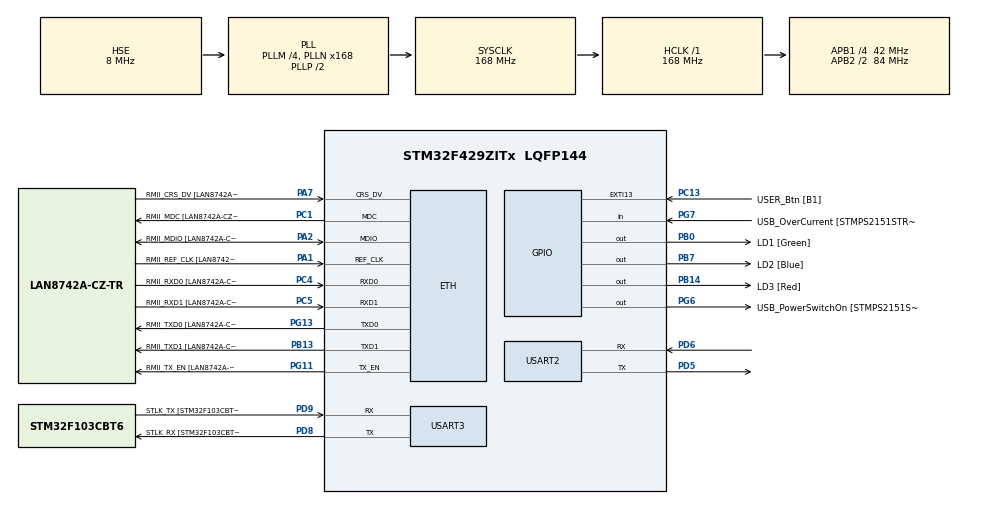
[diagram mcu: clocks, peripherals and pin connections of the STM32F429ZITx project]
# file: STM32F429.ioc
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Dma.Request0=USART2_RX
Dma.Request1=USART2_TX
Dma.Request2=USART3_RX
Dma.Request3=USART3_TX
Dma.USART2_RX.0.Direction=DMA_PERIPH_TO_MEMORY
Dma.USART2_RX.0.FIFOMode=DMA_FIFOMODE_DISABLE
Dma.USART2_RX.0.Instance=DMA1_Stream5
Dma.USART2_RX.0.MemDataAlignment=DMA_MDATAALIGN_BYTE
Dma.USART2_RX.0.MemInc=DMA_MINC_ENABLE
Dma.USART2_RX.0.Mode=DMA_NORMAL
Dma.USART2_RX.0.PeriphDataAlignment=DMA_PDATAALIGN_BYTE
Dma.USART2_RX.0.PeriphInc=DMA_PINC_DISABLE
Dma.USART2_RX.0.Priority=DMA_PRIORITY_LOW
Dma.USART2_TX.1.Direction=DMA_MEMORY_TO_PERIPH
Dma.USART2_TX.1.FIFOMode=DMA_FIFOMODE_DISABLE
Dma.USART2_TX.1.Instance=DMA1_Stream6
Dma.USART2_TX.1.MemDataAlignment=DMA_MDATAALIGN_BYTE
Dma.USART2_TX.1.MemInc=DMA_MINC_ENABLE
Dma.USART2_TX.1.Mode=DMA_NORMAL
Dma.USART2_TX.1.PeriphDataAlignment=DMA_PDATAALIGN_BYTE
Dma.USART2_TX.1.PeriphInc=DMA_PINC_DISABLE
Dma.USART2_TX.1.Priority=DMA_PRIORITY_LOW
Dma.USART3_RX.2.Direction=DMA_PERIPH_TO_MEMORY
Dma.USART3_RX.2.FIFOMode=DMA_FIFOMODE_DISABLE
Dma.USART3_RX.2.Instance=DMA1_Stream1
Dma.USART3_RX.2.MemDataAlignment=DMA_MDATAALIGN_BYTE
Dma.USART3_RX.2.MemInc=DMA_MINC_ENABLE
Dma.USART3_RX.2.Mode=DMA_NORMAL
Dma.USART3_RX.2.PeriphDataAlignment=DMA_PDATAALIGN_BYTE
Dma.USART3_RX.2.PeriphInc=DMA_PINC_DISABLE
Dma.USART3_RX.2.Priority=DMA_PRIORITY_LOW
Dma.USART3_TX.3.Direction=DMA_MEMORY_TO_PERIPH
Dma.USART3_TX.3.FIFOMode=DMA_FIFOMODE_DISABLE
Dma.USART3_TX.3.Instance=DMA1_Stream3
Dma.USART3_TX.3.MemDataAlignment=DMA_MDATAALIGN_BYTE
Dma.USART3_TX.3.MemInc=DMA_MINC_ENABLE
Dma.USART3_TX.3.Mode=DMA_NORMAL
Dma.USART3_TX.3.PeriphDataAlignment=DMA_PDATAALIGN_BYTE
Dma.USART3_TX.3.PeriphInc=DMA_PINC_DISABLE
Dma.USART3_TX.3.Priority=DMA_PRIORITY_LOW
ETH.MACAddr=00\:80\:E1\:00\:00\:01
ETH.MediaInterface=ETH_MEDIA_INTERFACE_RMII
ETH.PHY_Name=LAN8742A_PHY_ADDRESS
ETH.PHY_Value=0
ETH.PhyAddress=0
FREERTOS.Tasks01=defaultTask,24,128,StartDefaultTask,Default,NULL,Dynamic,NULL,NULL;myTaskModbusTCP,8,256,StartTaskTCPH,Default,NULL,Dynamic,NULL,NULL;myTaskMaster,8,256,StartTaskMaster,Default,NULL,Dynamic,NULL,NULL;TaskmyTaskSlave,8,256,StartTasSlave,Default,NULL,Dynamic,NULL,NULL;myTaskTCPS,8,256,StartTaskTCPS,Default,NULL,Dynamic,NULL,NULL
FREERTOS.configTOTAL_HEAP_SIZE=32536
FREERTOS.configUSE_NEWLIB_REENTRANT=0
LWIP.GATEWAY_ADDRESS=192.168.010.001
LWIP.IP_ADDRESS=192.168.010.180
LWIP.LWIP_DHCP=0
LWIP.LWIP_IPV6=0
LWIP.NETMASK_ADDRESS=255.255.255.000
LWIP.Version=v2.1.2_Cube
Mcu.Family=STM32F4
Mcu.Name=STM32F429ZITx
Mcu.Package=LQFP144
NVIC.DMA1_Stream1_IRQn=true\:5\:0\:false\:false\:true\:true\:false\:true
NVIC.DMA1_Stream3_IRQn=true\:5\:0\:false\:false\:true\:true\:false\:true
NVIC.DMA1_Stream5_IRQn=true\:5\:0\:false\:false\:true\:true\:false\:true
NVIC.DMA1_Stream6_IRQn=true\:5\:0\:false\:false\:true\:true\:false\:true
NVIC.ETH_IRQn=true\:5\:0\:false\:false\:true\:true\:false\:true
NVIC.PriorityGroup=NVIC_PRIORITYGROUP_4
NVIC.TIM8_UP_TIM13_IRQn=true\:0\:0\:false\:false\:true\:false\:false\:true
NVIC.TimeBase=TIM8_UP_TIM13_IRQn
NVIC.TimeBaseIP=TIM13
NVIC.USART2_IRQn=true\:5\:0\:false\:false\:true\:true\:true\:true
NVIC.USART3_IRQn=true\:5\:0\:false\:false\:true\:true\:true\:true
PA1.GPIO_Label=RMII_REF_CLK [LAN8742A-CZ-TR_REFCLK0]
PA1.Mode=RMII
PA1.Signal=ETH_REF_CLK
PA10.GPIO_Label=USB_ID
PA10.Signal=USB_OTG_FS_ID
PA11.GPIO_Label=USB_DM
PA11.Signal=USB_OTG_FS_DM
PA12.GPIO_Label=USB_DP
PA12.Signal=USB_OTG_FS_DP
PA13.GPIO_Label=TMS
PA13.Mode=Serial_Wire
PA13.Signal=SYS_JTMS-SWDIO
PA14.GPIO_Label=TCK
PA14.Mode=Serial_Wire
PA14.Signal=SYS_JTCK-SWCLK
PA2.GPIO_Label=RMII_MDIO [LAN8742A-CZ-TR_MDIO]
PA2.Mode=RMII
PA2.Signal=ETH_MDIO
PA7.GPIO_Label=RMII_CRS_DV [LAN8742A-CZ-TR_CRS_DV]
PA7.Mode=RMII
PA7.Signal=ETH_CRS_DV
PA8.GPIO_Label=USB_SOF [TP1]
PA8.Signal=USB_OTG_FS_SOF
PA9.GPIO_Label=USB_VBUS
PA9.Signal=USB_OTG_FS_VBUS
PB0.GPIO_Label=LD1 [Green]
PB0.Signal=GPIO_Output
PB13.GPIO_Label=RMII_TXD1 [LAN8742A-CZ-TR_TXD1]
PB13.Mode=RMII
PB13.Signal=ETH_TXD1
PB14.GPIO_Label=LD3 [Red]
PB14.Signal=GPIO_Output
PB7.GPIO_Label=LD2 [Blue]
PB7.Signal=GPIO_Output
PC1.GPIO_Label=RMII_MDC [LAN8742A-CZ-TR_MDC]
PC1.Mode=RMII
PC1.Signal=ETH_MDC
PC13.GPIO_Label=USER_Btn [B1]
PC13.Signal=GPXTI13
PC14/OSC32_IN.Mode=LSE-External-Oscillator
PC14/OSC32_IN.Signal=RCC_OSC32_IN
PC15/OSC32_OUT.Mode=LSE-External-Oscillator
PC15/OSC32_OUT.Signal=RCC_OSC32_OUT
PC4.GPIO_Label=RMII_RXD0 [LAN8742A-CZ-TR_RXD0]
PC4.Mode=RMII
PC4.Signal=ETH_RXD0
PC5.GPIO_Label=RMII_RXD1 [LAN8742A-CZ-TR_RXD1]
PC5.Mode=RMII
PC5.Signal=ETH_RXD1
PD5.Mode=Asynchronous
PD5.Signal=USART2_TX
PD6.Mode=Asynchronous
PD6.Signal=USART2_RX
PD8.GPIO_Label=STLK_RX [STM32F103CBT6_PA3]
PD8.Mode=Asynchronous
PD8.Signal=USART3_TX
PD9.GPIO_Label=STLK_TX [STM32F103CBT6_PA2]
PD9.Mode=Asynchronous
PD9.Signal=USART3_RX
PG11.GPIO_Label=RMII_TX_EN [LAN8742A-CZ-TR_TXEN]
PG11.Mode=RMII
PG11.Signal=ETH_TX_EN
PG13.GPIO_Label=RMII_TXD0 [LAN8742A-CZ-TR_TXD0]
PG13.Mode=RMII
PG13.Signal=ETH_TXD0
PG6.GPIO_Label=USB_PowerSwitchOn [STMPS2151STR_EN]
PG6.Signal=GPIO_Output
PG7.GPIO_Label=USB_OverCurrent [STMPS2151STR_FAULT]
PG7.Signal=GPIO_Input
PH0/OSC_IN.GPIO_Label=MCO [STM32F103CBT6_PA8]
PH0/OSC_IN.Mode=HSE-External-Clock-Source
PH0/OSC_IN.Signal=RCC_OSC_IN
PH1/OSC_OUT.Mode=HSE-External-Clock-Source
PH1/OSC_OUT.Signal=RCC_OSC_OUT
ProjectManager.HeapSize=0x200
ProjectManager.StackSize=0x400
ProjectManager.TargetToolchain=STM32CubeIDE
RCC.48MHZClocksFreq_Value=48000000
RCC.AHBFreq_Value=168000000
RCC.APB1CLKDivider=RCC_HCLK_DIV4
RCC.APB1Freq_Value=42000000
RCC.APB1TimFreq_Value=84000000
RCC.APB2CLKDivider=RCC_HCLK_DIV2
RCC.APB2Freq_Value=84000000
RCC.APB2TimCLKDivider=2
RCC.APB2TimFreq_Value=168000000
RCC.CortexFreq_Value=168000000
RCC.HCLKFreq_Value=168000000
RCC.HSE_VALUE=8000000
RCC.HSI_VALUE=16000000
RCC.PLLM=4
RCC.PLLMUL=RCC_PLL_MUL9
RCC.PLLN=168
RCC.PLLQ=7
RCC.PLLSourceVirtual=RCC_PLLSOURCE_HSE
RCC.PRESCALERUSB=RCC_USBCLKSOURCE_PLL_DIV1_5
RCC.SYSCLKFreq_VALUE=168000000
RCC.SYSCLKSource=RCC_SYSCLKSOURCE_PLLCLK
RCC.SYSCLKSourceVirtual=RCC_SYSCLKSOURCE_PLLCLK
RCC.USBFreq_Value=48000000
RCC.VCOOutputFreq_Value=336000000
USART2.VirtualMode=VM_ASYNC
USART3.VirtualMode=VM_ASYNC
VP_FREERTOS_VS_CMSIS_V2.Mode=CMSIS_V2
VP_LWIP_VS_Enabled.Mode=Enabled
VP_SYS_VS_tim13.Mode=TIM13
board=NUCLEO-F429ZI

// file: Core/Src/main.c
/* USER CODE BEGIN Header */
/**
  ******************************************************************************
  * @file           : main.c
  * @brief          : Main program body
  ******************************************************************************
  * @attention
  *
  * <h2><center>&copy; Copyright (c) 2021 STMicroelectronics.
  * All rights reserved.</center></h2>
  *
  * This software component is licensed by ST under BSD 3-Clause license,
  * the "License"; You may not use this file except in compliance with the
  * License. You may obtain a copy of the License at:
  *                        opensource.org/licenses/BSD-3-Clause
  *
  ******************************************************************************
  */
/* USER CODE END Header */
#include "main.h"
#include "cmsis_os.h"
#include "dma.h"
#include "lwip.h"
#include "usart.h"
#include "gpio.h"

/* USER CODE BEGIN PV */
modbusHandler_t ModbusTCPH;
uint16_t TCPHDATA[128];
modbusHandler_t ModbusTCPS;
uint16_t TCPSDATA[128];
modbusHandler_t ModbusRTUH;
uint16_t RTUHDATA[128];
modbusHandler_t ModbusRTUS;
uint16_t RTUSDATA[128];
/* USER CODE END PV */

void SystemClock_Config(void);
void MX_FREERTOS_Init(void);

int main(void)
{

  /* MCU Configuration--------------------------------------------------------*/

  /* Reset of all peripherals, Initializes the Flash interface and the Systick. */
  HAL_Init();

  /* Configure the system clock */
  SystemClock_Config();

  /* Initialize all configured peripherals */
  MX_GPIO_Init();
  MX_USART3_UART_Init();
  MX_DMA_Init();
  MX_USART2_UART_Init();
  /* USER CODE BEGIN 2 */

  /* Modbus TCP initialization */
  // ModbusTCPH.uModbusType = MB_MASTER;
  // ModbusTCPH.u8id = 0;
  // ModbusTCPH.u16timeOut = 1000;
  // ModbusTCPH.EN_Port = NULL;
  // ModbusTCPH.u16regs = TCPHDATA;
  // ModbusTCPH.u16regsize= sizeof(TCPHDATA)/sizeof(TCPHDATA[0]);
  // ModbusTCPH.xTypeHW = TCP_HW; // TCP hardware
  // ModbusTCPH.uTcpPort = 502;
  // ModbusInit(&ModbusTCPH);
  // ModbusStart(&ModbusTCPH);

    /* Master initialization */
    ModbusRTUH.uModbusType = MB_MASTER;
    ModbusRTUH.port =  &huart2;
    ModbusRTUH.u8id = 0;
    ModbusRTUH.u16timeOut = 1000;
    ModbusRTUH.EN_Port = NULL;
    ModbusRTUH.EN_Pin = 0;
    ModbusRTUH.u16regs = RTUHDATA;
    ModbusRTUH.u16regsize= sizeof(RTUHDATA)/sizeof(RTUHDATA[0]);
    ModbusRTUH.xTypeHW = USART_HW_DMA;//USART_HW;//
    ModbusInit(&ModbusRTUH);
    ModbusStart(&ModbusRTUH);

    /* Slave initialization */
    ModbusRTUS.uModbusType = MB_SLAVE;
    ModbusRTUS.port =  &huart3;
    ModbusRTUS.u8id = 1;
    ModbusRTUS.u16timeOut = 1000;
    ModbusRTUS.EN_Port = NULL;
    ModbusRTUS.EN_Pin = 0;
    ModbusRTUS.u16regs = RTUSDATA;
    ModbusRTUS.u16regsize= sizeof(RTUSDATA)/sizeof(RTUSDATA[0]);
    ModbusRTUS.xTypeHW = USART_HW;
    ModbusInit(&ModbusRTUS);
    ModbusStart(&ModbusRTUS);

  /* USER CODE END 2 */

  /* Init scheduler */
  osKernelInitialize();  /* Call init function for freertos objects (in freertos.c) */
  MX_FREERTOS_Init();
  /* Start scheduler */
  osKernelStart();

  /* We should never get here as control is now taken by the scheduler */
  /* Infinite loop */
  while (1)
  {

  }
}

void SystemClock_Config(void)
{
  RCC_OscInitTypeDef RCC_OscInitStruct = {0};
  RCC_ClkInitTypeDef RCC_ClkInitStruct = {0};

  /** Configure the main internal regulator output voltage
  */
  __HAL_RCC_PWR_CLK_ENABLE();
  __HAL_PWR_VOLTAGESCALING_CONFIG(PWR_REGULATOR_VOLTAGE_SCALE1);
  /** Initializes the RCC Oscillators according to the specified parameters
  * in the RCC_OscInitTypeDef structure.
  */
  RCC_OscInitStruct.OscillatorType = RCC_OSCILLATORTYPE_HSE;
  RCC_OscInitStruct.HSEState = RCC_HSE_BYPASS;
  RCC_OscInitStruct.PLL.PLLState = RCC_PLL_ON;
  RCC_OscInitStruct.PLL.PLLSource = RCC_PLLSOURCE_HSE;
  RCC_OscInitStruct.PLL.PLLM = 4;
  RCC_OscInitStruct.PLL.PLLN = 168;
  RCC_OscInitStruct.PLL.PLLP = RCC_PLLP_DIV2;
  RCC_OscInitStruct.PLL.PLLQ = 7;
  if (HAL_RCC_OscConfig(&RCC_OscInitStruct) != HAL_OK)
  {
    Error_Handler();
  }
  /** Initializes the CPU, AHB and APB buses clocks
  */
  RCC_ClkInitStruct.ClockType = RCC_CLOCKTYPE_HCLK|RCC_CLOCKTYPE_SYSCLK
                              |RCC_CLOCKTYPE_PCLK1|RCC_CLOCKTYPE_PCLK2;
  RCC_ClkInitStruct.SYSCLKSource = RCC_SYSCLKSOURCE_PLLCLK;
  RCC_ClkInitStruct.AHBCLKDivider = RCC_SYSCLK_DIV1;
  RCC_ClkInitStruct.APB1CLKDivider = RCC_HCLK_DIV4;
  RCC_ClkInitStruct.APB2CLKDivider = RCC_HCLK_DIV2;

  if (HAL_RCC_ClockConfig(&RCC_ClkInitStruct, FLASH_LATENCY_5) != HAL_OK)
  {
    Error_Handler();
  }
}

void HAL_TIM_PeriodElapsedCallback(TIM_HandleTypeDef *htim)
{
  if (htim->Instance == TIM13) {
    HAL_IncTick();
  }
}

void Error_Handler(void)
{
  __disable_irq();
  while (1)
  {
  }
}

/************************ (C) COPYRIGHT STMicroelectronics *****END OF FILE****/

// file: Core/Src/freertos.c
/* USER CODE BEGIN Header */
/**
  ******************************************************************************
  * File Name          : freertos.c
  * Description        : Code for freertos applications
  ******************************************************************************
  * @attention
  *
  * <h2><center>&copy; Copyright (c) 2021 STMicroelectronics.
  * All rights reserved.</center></h2>
  *
  * This software component is licensed by ST under Ultimate Liberty license
  * SLA0044, the "License"; You may not use this file except in compliance with
  * the License. You may obtain a copy of the License at:
  *                             www.st.com/SLA0044
  *
  ******************************************************************************
  */
/* USER CODE END Header */

#include "FreeRTOS.h"
#include "task.h"
#include "main.h"
#include "cmsis_os.h"

/* USER CODE BEGIN Includes */
#include "ip_addr.h"
#include "semphr.h"
/* USER CODE END Includes */

/* USER CODE BEGIN Variables */
modbus_t telegram[2];
/* USER CODE END Variables */
/* Definitions for defaultTask */
osThreadId_t defaultTaskHandle;
const osThreadAttr_t defaultTask_attributes = {
  .name = "defaultTask",
  .stack_size = 128 * 4,
  .priority = (osPriority_t) osPriorityNormal,
};
/* Definitions for myTaskModbusTCP */
osThreadId_t myTaskModbusTCPHandle;
const osThreadAttr_t myTaskModbusTCP_attributes = {
  .name = "myTaskModbusTCP",
  .stack_size = 256 * 4,
  .priority = (osPriority_t) osPriorityLow,
};
/* Definitions for myTaskMaster */
osThreadId_t myTaskMasterHandle;
const osThreadAttr_t myTaskMaster_attributes = {
  .name = "myTaskMaster",
  .stack_size = 256 * 4,
  .priority = (osPriority_t) osPriorityLow,
};
/* Definitions for TaskmyTaskSlave */
osThreadId_t TaskmyTaskSlaveHandle;
const osThreadAttr_t TaskmyTaskSlave_attributes = {
  .name = "TaskmyTaskSlave",
  .stack_size = 256 * 4,
  .priority = (osPriority_t) osPriorityLow,
};
/* Definitions for myTaskTCPS */
osThreadId_t myTaskTCPSHandle;
const osThreadAttr_t myTaskTCPS_attributes = {
  .name = "myTaskTCPS",
  .stack_size = 256 * 4,
  .priority = (osPriority_t) osPriorityLow,
};

void StartDefaultTask(void *argument);
void StartTaskMaster(void *argument);
void StartTasSlave(void *argument);
void StartTaskTCPH(void *argument);
void StartTaskTCPS(void *argument);

extern void MX_LWIP_Init(void);
void MX_FREERTOS_Init(void); /* (MISRA C 2004 rule 8.1) */

void MX_FREERTOS_Init(void) {

  /* Create the thread(s) */
  /* creation of defaultTask */
  defaultTaskHandle = osThreadNew(StartDefaultTask, NULL, &defaultTask_attributes);

  /* creation of myTaskModbusTCP */
  // myTaskModbusTCPHandle = osThreadNew(StartTaskTCPH, NULL, &myTaskModbusTCP_attributes);

  /* creation of myTaskTCPS */
  // myTaskTCPSHandle = osThreadNew(StartTaskTCPS, NULL, &myTaskTCPS_attributes);

  /* creation of myTaskMaster */
  myTaskMasterHandle = osThreadNew(StartTaskMaster, NULL, &myTaskMaster_attributes);

  /* creation of TaskmyTaskSlave */
  TaskmyTaskSlaveHandle = osThreadNew(StartTasSlave, NULL, &TaskmyTaskSlave_attributes);

}

void StartDefaultTask(void *argument)
{
  /* USER CODE BEGIN StartDefaultTask */
  MX_LWIP_Init();
  /* Infinite loop */
  for(;;)
  {
    osDelay(1);
  }
  /* USER CODE END StartDefaultTask */
}

void StartTaskTCPH(void *argument)
{
  /* USER CODE BEGIN StartTaskTCPH */
  modbus_t telegram;
	uint32_t u32NotificationValue;

	telegram.u8id = 1; // slave address
	telegram.u8fct = MB_FC_WRITE_MULTIPLE_REGISTERS; // function code (this one is registers read)
	//telegram.u16RegAdd = 0x160; // start address in slave
	telegram.u16RegAdd = 0x0; // start address in slave
	telegram.u16CoilsNo = 10; // number of elements (coils or registers) to read
	telegram.u16reg = TCPHDATA; // pointer to a memory array in the Arduino
	IP_ADDR4((ip4_addr_t *)&telegram.xIpAddress, 192, 168, 10, 107); //address of the slave
	telegram.u16Port = 502;
  /* Infinite loop */
	for(;;)
	{
		TCPHDATA[0]++;
    TCPHDATA[9]++;
		ModbusQuery(&ModbusTCPH, telegram); // make a query
    u32NotificationValue = ulTaskNotifyTake(pdTRUE, 500); // block until query finishes or timeouts
    if(u32NotificationValue)
    {
      //handle error
      //while(1);
    }
    osDelay(500);
	}
  /* USER CODE END StartTaskTCPH */
}
void StartTaskMaster(void *argument)
{
  /* USER CODE BEGIN StartTaskMaster */
	uint32_t u32NotificationValue;

	telegram[0].u8id = 1; // slave address
	telegram[0].u8fct = 3; // function code (this one is registers read)
	//telegram[0].u16RegAdd = 0x160; // start address in slave
	telegram[0].u16RegAdd = 0x0; // start address in slave
	telegram[0].u16CoilsNo = 1; // number of elements (coils or registers) to read
	telegram[0].u16reg = RTUHDATA; // pointer to a memory array

	// telegram 0: read registers
	telegram[1].u8id = 1; // slave address
	telegram[1].u8fct = 6; // function code (this one is registers write)
	//telegram[1].u16RegAdd = 0x160; // start address in slave
	telegram[1].u16RegAdd = 0x0;
	telegram[1].u16CoilsNo = 1;
	telegram[1].u16reg = RTUHDATA; // pointer to a memory array

    /* Infinite loop */
    for(;;)
    {
      ModbusQuery(&ModbusRTUH, telegram[0]); // make a query
      u32NotificationValue = ulTaskNotifyTake(pdTRUE, 500); // block until query finishes or timeout
      if(u32NotificationValue)
      {
      //handle error
      //  while(1);
      }
      osDelay(500);
      RTUHDATA[0]++;
      ModbusQuery(&ModbusRTUH, telegram[1]); // make a query
      u32NotificationValue = ulTaskNotifyTake(pdTRUE, 500); // block until query finishes or timeout
      if(u32NotificationValue)
      {
        //handle error
        //  while(1);
      }
      osDelay(500);
    }
  /* USER CODE END StartTaskMaster */
}

void StartTasSlave(void *argument)
{
  /* USER CODE BEGIN StartTasSlave */
  /* Infinite loop */
  for(;;)
  {
    xSemaphoreTake(ModbusRTUS.ModBusSphrHandle , portMAX_DELAY);
    HAL_GPIO_WritePin(LD2_GPIO_Port, LD2_Pin, ModbusRTUS.u16regs[0] & 0x1);
    xSemaphoreGive(ModbusRTUS.ModBusSphrHandle);
    osDelay(250);
  }
  /* USER CODE END StartTasSlave */
}

void StartTaskTCPS(void *argument)
{
  /* USER CODE BEGIN StartTaskTCPS */
  /* Infinite loop */
  for(;;)
  {
    // xSemaphoreTake(ModbusTCPS.ModBusSphrHandle , portMAX_DELAY);
    // HAL_GPIO_WritePin(LD2_GPIO_Port, LD2_Pin, ModbusTCPS.u16regs[0] & 0x1);
    // xSemaphoreGive(ModbusTCPS.ModBusSphrHandle);
    osDelay(250);
  }
  /* USER CODE END StartTaskTCPS */
}

/************************ (C) COPYRIGHT STMicroelectronics *****END OF FILE****/
